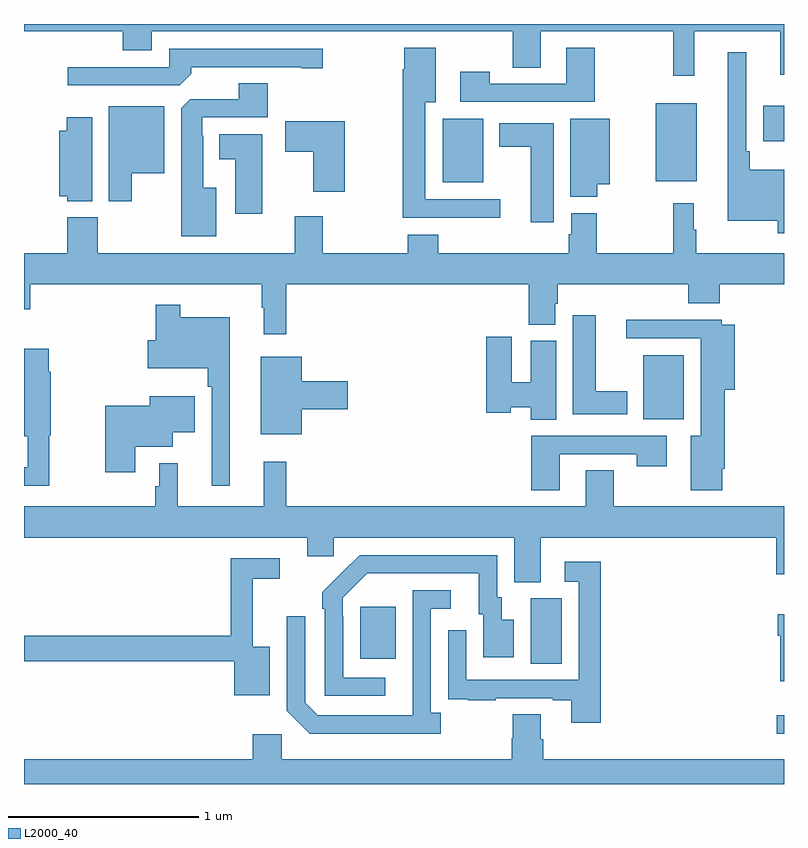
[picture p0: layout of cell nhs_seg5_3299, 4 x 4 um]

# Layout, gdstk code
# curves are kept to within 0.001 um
import gdstk
lib = gdstk.Library(unit=1e-6, precision=1e-09)
def R(c, l, rs):  # rectangles x0, y0, x1, y1
    for r in rs: c.add(gdstk.rectangle(r[:2], r[2:], *l))
def P(c, l, *ps):  # polygons
    for p in ps: c.add(gdstk.Polygon(p, *l))
L2000_40 = (2000, 40)

nhs_seg5_3299 = lib.new_cell('nhs_seg5_3299')
R(nhs_seg5_3299, L2000_40, [(306.963,853.064,307,853.161), (305.666,853.432,305.83,853.776), (304.769,853.457,304.957,853.732), (306.26,854.72,306.472,855.055), (305.204,855.965,305.416,856.3), (306.326,855.971,306.541,856.381), (306.89,856.181,307,856.369)])
P(nhs_seg5_3299, L2000_40, [(306.527,856.76),(306.98,856.76),(306.98,856.532),(307,856.532),(307,856.799),(303,856.799),(303,856.76),(303.521,856.76),(303.521,856.661),(303.673,856.661),(303.673,856.76),(305.572,856.76),(305.572,856.57),(305.719,856.57),(305.719,856.76),(306.417,856.76),(306.417,856.527),(306.527,856.527)],
  [(306.003,856.675),(305.855,856.675),(305.855,856.485),(305.451,856.485),(305.451,856.549),(305.295,856.549),(305.295,856.389),(306.003,856.389)],
  [(305.506,855.876),(305.113,855.876),(305.113,856.388),(305.167,856.388),(305.167,856.675),(305,856.675),(305,856.562),(304.993,856.562),(304.993,855.779),(305.506,855.779)],
  [(303.881,856.538),(303.881,856.572),(304.46,856.572),(304.46,856.567),(304.573,856.567),(304.573,856.668),(303.765,856.668),(303.765,856.572),(303.231,856.572),(303.231,856.476),(303.819,856.476)],
  [(307,856.033),(306.821,856.033),(306.821,856.129),(306.801,856.129),(306.801,856.651),(306.704,856.651),(306.704,855.764),(306.966,855.764),(306.966,855.699),(307,855.699)],
  [(304.012,855.937),(303.943,855.937),(303.943,856.211),(303.939,856.211),(303.939,856.308),(304.283,856.308),(304.283,856.487),(304.13,856.487),(304.13,856.404),(303.876,856.404),(303.827,856.355),(303.827,855.683),(304.012,855.683)],
  [(303.568,856.013),(303.739,856.013),(303.739,856.366),(303.446,856.366),(303.446,855.867),(303.568,855.867)],
  [(303.358,856.309),(303.224,856.309),(303.224,856.237),(303.185,856.237),(303.185,855.893),(303.228,855.893),(303.228,855.866),(303.358,855.866)],
  [(306.018,855.956),(306.082,855.956),(306.082,856.3),(305.876,856.3),(305.876,855.889),(306.018,855.889)],
  [(304.689,856.288),(304.374,856.288),(304.374,856.126),(304.523,856.126),(304.523,855.915),(304.689,855.915)],
  [(305.788,856.276),(305.501,856.276),(305.501,856.154),(305.666,856.154),(305.666,855.756),(305.788,855.756)],
  [(304.255,856.219),(304.028,856.219),(304.028,856.088),(304.112,856.088),(304.112,855.801),(304.255,855.801)],
  [(305.18,855.691),(305.02,855.691),(305.02,855.592),(304.572,855.592),(304.572,855.787),(304.424,855.787),(304.424,855.592),(303.387,855.592),(303.387,855.781),(303.227,855.781),(303.227,855.592),(303,855.592),(303,855.297),(303.032,855.297),(303.032,855.428),(304.251,855.428),(304.251,855.305),(304.262,855.305),(304.262,855.165),(304.379,855.165),(304.379,855.428),(305.657,855.428),(305.657,855.217),(305.797,855.217),(305.797,855.327),(305.81,855.327),(305.81,855.428),(306.497,855.428),(306.497,855.329),(306.662,855.329),(306.662,855.428),(307,855.428),(307,855.592),(306.538,855.592),(306.538,855.716),(306.526,855.716),(306.526,855.856),(306.417,855.856),(306.417,855.592),(306.015,855.592),(306.015,855.804),(305.879,855.804),(305.879,855.693),(305.867,855.693),(305.867,855.592),(305.18,855.592)],
  [(304.084,855.256),(303.823,855.256),(303.823,855.322),(303.694,855.322),(303.694,855.135),(303.65,855.135),(303.65,854.987),(303.967,854.987),(303.967,854.891),(303.987,854.891),(303.987,854.37),(304.084,854.37)],
  [(306.175,854.866),(306.01,854.866),(306.01,855.265),(305.888,855.265),(305.888,854.744),(306.175,854.744)],
  [(306.676,854.458),(306.689,854.458),(306.689,854.873),(306.742,854.873),(306.742,855.217),(306.672,855.217),(306.672,855.242),(306.171,855.242),(306.171,855.144),(306.563,855.144),(306.563,854.632),(306.509,854.632),(306.509,854.346),(306.676,854.346)],
  [(305.8,855.132),(305.666,855.132),(305.666,854.913),(305.566,854.913),(305.566,855.154),(305.432,855.154),(305.432,854.753),(305.562,854.753),(305.562,854.783),(305.666,854.783),(305.666,854.716),(305.8,854.716)],
  [(303.134,854.634),(303.142,854.634),(303.142,854.97),(303.13,854.97),(303.13,855.091),(303,855.091),(303,854.63),(303.021,854.63),(303.021,854.467),(303,854.467),(303,854.37),(303.134,854.37)],
  [(304.462,854.771),(304.705,854.771),(304.705,854.918),(304.462,854.918),(304.462,855.049),(304.247,855.049),(304.247,854.639),(304.462,854.639)],
  [(303.586,854.573),(303.784,854.573),(303.784,854.651),(303.898,854.651),(303.898,854.839),(303.662,854.839),(303.662,854.791),(303.428,854.791),(303.428,854.439),(303.586,854.439)],
  [(305.821,854.535),(306.226,854.535),(306.226,854.472),(306.382,854.472),(306.382,854.631),(305.669,854.631),(305.669,854.346),(305.821,854.346)],
  [(304.262,854.494),(304.262,854.26),(303.809,854.26),(303.809,854.488),(303.711,854.488),(303.711,854.367),(303.691,854.367),(303.691,854.26),(303,854.26),(303,854.096),(304.49,854.096),(304.49,853.998),(304.629,853.998),(304.629,854.096),(305.579,854.096),(305.579,853.861),(305.719,853.861),(305.719,854.096),(306.959,854.096),(306.959,853.902),(307,853.902),(307,854.26),(306.105,854.26),(306.105,854.45),(305.957,854.45),(305.957,854.26),(304.379,854.26),(304.379,854.494)],
  [(304.9,853.359),(304.68,853.359),(304.68,853.679),(304.677,853.679),(304.677,853.779),(304.806,853.908),(305.393,853.908),(305.393,853.692),(305.417,853.692),(305.417,853.467),(305.578,853.467),(305.578,853.663),(305.515,853.663),(305.515,853.782),(305.49,853.782),(305.49,854.004),(304.766,854.004),(304.569,853.809),(304.569,853.721),(304.584,853.721),(304.584,853.263),(304.9,853.263)],
  [(304.294,853.522),(304.205,853.522),(304.205,853.878),(304.345,853.878),(304.345,853.986),(304.087,853.986),(304.087,853.58),(303,853.58),(303,853.444),(304.107,853.444),(304.107,853.265),(304.294,853.265)],
  [(306.035,853.969),(305.847,853.969),(305.847,853.863),(305.919,853.863),(305.919,853.347),(305.328,853.347),(305.328,853.609),(305.232,853.609),(305.232,853.354),(305.233,853.354),(305.233,853.245),(305.335,853.245),(305.335,853.239),(305.483,853.239),(305.483,853.251),(305.783,853.251),(305.783,853.239),(305.879,853.239),(305.879,853.122),(306.035,853.122)],
  [(305.194,853.174),(305.142,853.174),(305.142,853.722),(305.245,853.722),(305.245,853.818),(305.046,853.818),(305.045,853.161),(304.545,853.161),(304.479,853.227),(304.479,853.681),(304.383,853.681),(304.383,853.185),(304.504,853.064),(305.194,853.064)],
  [(307,853.693),(306.968,853.693),(306.968,853.58),(306.98,853.58),(306.98,853.34),(307,853.34)],
  [(307,852.928),(305.732,852.928),(305.732,853.034),(305.719,853.034),(305.719,853.166),(305.572,853.166),(305.572,853.041),(305.567,853.041),(305.567,852.928),(304.356,852.928),(304.356,853.06),(304.205,853.06),(304.205,852.928),(303,852.928),(303,852.799),(307,852.799)])

lib.write_gds('nhs_seg5_3299.gds')
